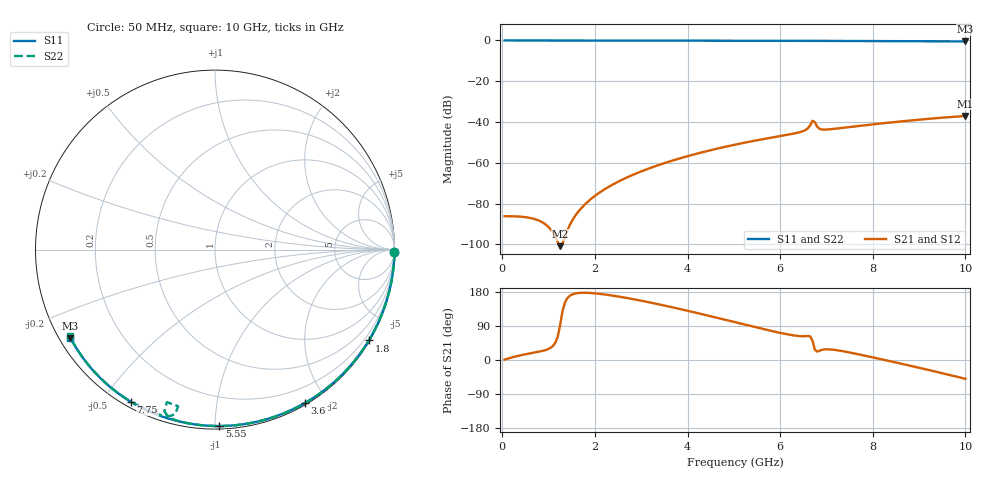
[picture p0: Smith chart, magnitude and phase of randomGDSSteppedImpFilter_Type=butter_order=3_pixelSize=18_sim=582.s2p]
! freq	dB(S11)	phase(S11)	dB(S12)	phase(S12)
!  dB(S21)	phase(S21)	dB(S22)	phase(S22)
!S-par simulation data
#  GHz  S  DB  R 50
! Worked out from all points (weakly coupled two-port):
!   200 points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, 50 MHz to 10 GHz, reference 50 ohm
!   highest |S21| = -37.06 dB at 10 GHz (marker M1); lowest = -100.9 dB at 1.25 GHz (marker M2)
!   lowest |S11| = -0.5 dB at 10 GHz (marker M3), VSWR 34.57, Z = 1.56 - j14.1 ohm
!   |S11| at or under -10 dB: nowhere
!   |S22| runs from -1.0 to 0.0 dB; largest |S21 - S12| = 0
!   S11 on the Smith chart (normalised r, x): 50 MHz: open; 1.8 GHz: 0.03, -3.66; 3.6 GHz: 0.02, -1.75; 5.55 GHz: 0.02, -1.02; 7.75 GHz: 0.02, -0.59; 10 GHz: 0.03, -0.28
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0.05  -0.00 -0.9  -86.21 1.0  -86.21 1.0  -0.00 -0.9
1.25  -0.03 -21.4  -100.92 93.0  -100.92 93.0  -0.03 -21.4
1.75  -0.04 -29.7  -81.21 177.5  -81.21 177.5  -0.04 -29.8
1.8  -0.04 -30.6  -80.08 177.4  -80.08 177.4  -0.04 -30.7
2.1  -0.05 -35.5  -74.64 174.7  -74.64 174.7  -0.05 -35.6
2.45  -0.05 -41.2  -69.90 168.7  -69.90 168.7  -0.05 -41.4
2.9  -0.06 -48.5  -65.16 158.9  -65.16 158.9  -0.06 -48.7
3.4  -0.08 -56.4  -60.93 146.4  -60.93 146.4  -0.08 -56.7
3.6  -0.08 -59.6  -59.45 141.0  -59.45 141.0  -0.08 -59.8
4.3  -0.10 -70.3  -54.96 121.3  -54.96 121.3  -0.10 -70.6
5.05  -0.13 -81.4  -51.01 99.1  -51.01 99.1  -0.13 -81.8
5.55  -0.15 -88.6  -48.75 84.2  -48.75 84.2  -0.15 -89.1
6.5  -0.19 -102.0  -44.43 62.7  -44.43 62.7  -0.23 -103.6
6.6  -0.20 -103.3  -43.07 63.3  -43.07 63.3  -0.32 -105.9
6.7  -0.20 -104.7  -39.42 50.4  -39.42 50.4  -1.00 -107.5
6.75  -0.21 -105.4  -40.10 27.0  -40.10 27.0  -0.95 -103.2
6.8  -0.21 -106.1  -42.32 22.3  -42.32 22.3  -0.52 -103.6
6.85  -0.21 -106.7  -43.33 24.6  -43.33 24.6  -0.36 -104.9
6.9  -0.22 -107.4  -43.67 26.7  -43.67 26.7  -0.31 -106.1
7.75  -0.27 -118.9  -41.80 13.5  -41.80 13.5  -0.28 -118.9
8.35  -0.32 -126.8  -40.32 -2.5  -40.32 -2.5  -0.33 -127.0
10  -0.50 -148.6  -37.06 -49.7  -37.06 -49.7  -0.51 -149.1
